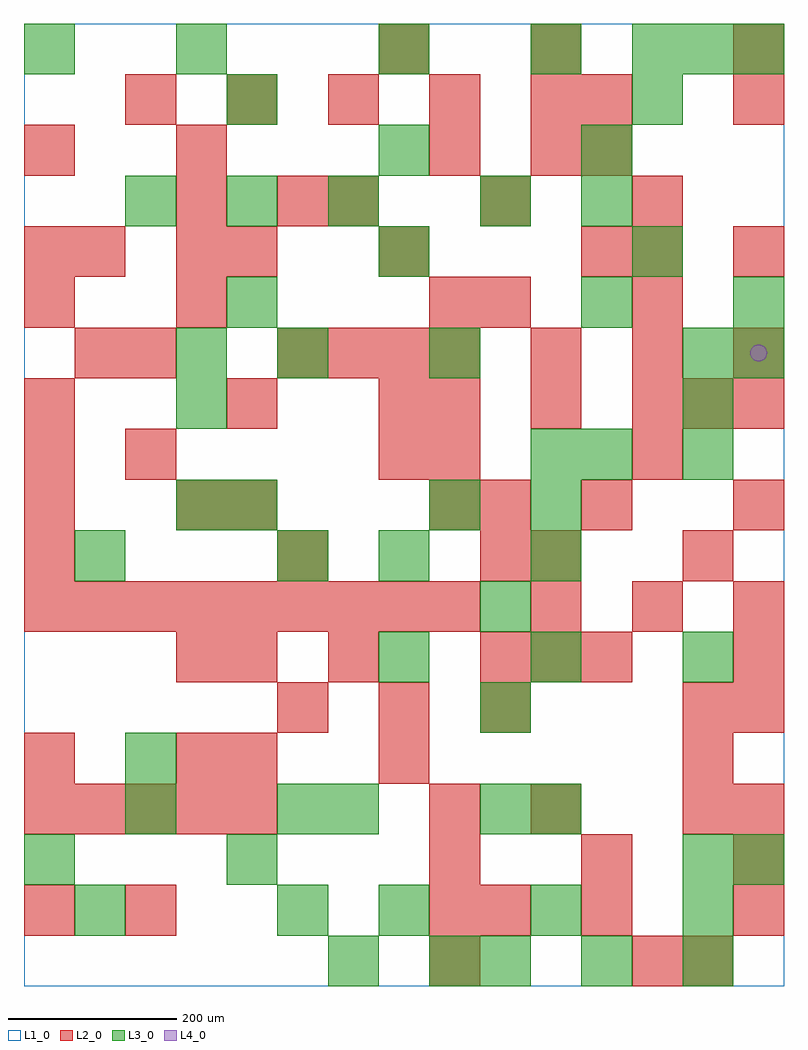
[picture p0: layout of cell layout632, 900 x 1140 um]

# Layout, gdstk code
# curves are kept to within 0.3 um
import gdstk
lib = gdstk.Library(unit=1e-6, precision=1e-09)
def R(c, l, rs):  # rectangles x0, y0, x1, y1
    for r in rs: c.add(gdstk.rectangle(r[:2], r[2:], *l))
def A(c, l, x, y, w, h, nx, ny, dx, dy):  # array of equal rectangles
    R(c, l, [(x+i*dx, y+j*dy, x+i*dx+w, y+j*dy+h) for i in range(nx) for j in range(ny)])
def P(c, l, *ps):  # polygons
    for p in ps: c.add(gdstk.Polygon(p, *l))
L1_0 = (1, 0)
L2_0 = (2, 0)
L3_0 = (3, 0)
L4_0 = (4, 0)

layout632 = lib.new_cell('layout632')
R(layout632, L1_0, [(0,0,900,1140)])
A(layout632, L2_0, 840, 60, 60, 60, 1, 3, 0, 120)
A(layout632, L2_0, 480, 120, 60, 60, 3, 1, 180, 0)
A(layout632, L2_0, 0, 180, 60, 60, 5, 1, 60, 0)
A(layout632, L2_0, 780, 180, 60, 60, 1, 3, 0, 60)
A(layout632, L2_0, 300, 300, 60, 60, 3, 1, 120, 0)
A(layout632, L2_0, 540, 360, 60, 60, 3, 1, 60, 0)
A(layout632, L2_0, 0, 420, 60, 60, 9, 1, 60, 0)
A(layout632, L2_0, 600, 420, 60, 60, 3, 2, 120, 300)
A(layout632, L2_0, 0, 480, 60, 60, 1, 4, 0, 60)
A(layout632, L2_0, 480, 600, 60, 60, 1, 3, 0, 180)
A(layout632, L2_0, 480, 660, 60, 60, 3, 1, 120, 0)
A(layout632, L2_0, 840, 660, 60, 60, 1, 3, 0, 180)
A(layout632, L2_0, 300, 720, 60, 60, 4, 1, 60, 0)
A(layout632, L2_0, 180, 780, 60, 60, 1, 4, 0, 60)
A(layout632, L2_0, 360, 900, 60, 60, 3, 1, 180, 0)
A(layout632, L2_0, 120, 1020, 60, 60, 5, 1, 120, 0)
R(layout632, L2_0, [(480,0,540,60), (720,0,780,60), (780,0,840,60), (0,60,60,120), (120,60,180,120), (480,60,540,120), (540,60,600,120), (660,60,720,120), (480,180,540,240), (600,180,660,240), (0,240,60,300), (180,240,240,300), (240,240,300,300), (420,240,480,300), (180,360,240,420), (240,360,300,420), (360,360,420,420), (840,360,900,420), (300,480,360,540), (540,480,600,540), (600,480,660,540), (780,480,840,540), (180,540,240,600), (240,540,300,600), (480,540,540,600), (540,540,600,600), (660,540,720,600), (840,540,900,600), (120,600,180,660), (420,600,480,660), (720,600,780,660), (240,660,300,720), (420,660,480,720), (780,660,840,720), (60,720,120,780), (120,720,180,780), (0,780,60,840), (540,780,600,840), (720,780,780,840), (0,840,60,900), (60,840,120,900), (240,840,300,900), (420,840,480,900), (660,840,720,900), (720,840,780,900), (300,900,360,960), (0,960,60,1020), (600,960,660,1020), (660,960,720,1020), (660,1020,720,1080), (420,1080,480,1140), (600,1080,660,1140), (840,1080,900,1140)])
A(layout632, L3_0, 540, 0, 60, 60, 3, 1, 120, 0)
A(layout632, L3_0, 420, 60, 60, 60, 3, 2, 180, 300)
A(layout632, L3_0, 540, 180, 60, 60, 1, 3, 0, 120)
A(layout632, L3_0, 600, 480, 60, 60, 1, 3, 0, 60)
A(layout632, L3_0, 240, 540, 60, 60, 1, 3, 0, 240)
A(layout632, L3_0, 780, 600, 60, 60, 1, 3, 0, 60)
A(layout632, L3_0, 420, 840, 60, 60, 1, 3, 0, 120)
A(layout632, L3_0, 120, 900, 60, 60, 3, 1, 120, 0)
A(layout632, L3_0, 720, 1080, 60, 60, 3, 1, 60, 0)
R(layout632, L3_0, [(360,0,420,60), (480,0,540,60), (60,60,120,120), (300,60,360,120), (0,120,60,180), (240,120,300,180), (780,120,840,180), (840,120,900,180), (120,180,180,240), (300,180,360,240), (360,180,420,240), (600,180,660,240), (120,240,180,300), (60,480,120,540), (300,480,360,540), (420,480,480,540), (180,540,240,600), (480,540,540,600), (660,600,720,660), (180,660,240,720), (180,720,240,780), (300,720,360,780), (480,720,540,780), (840,720,900,780), (660,780,720,840), (840,780,900,840), (720,840,780,900), (540,900,600,960), (660,900,720,960), (660,960,720,1020), (720,1020,780,1080), (0,1080,60,1140), (180,1080,240,1140), (600,1080,660,1140)])
P(layout632, L4_0, [(880,750),(879.239,753.827),(877.071,757.071),(873.827,759.239),(870,760),(866.173,759.239),(862.929,757.071),(860.761,753.827),(860,750),(860.761,746.173),(862.929,742.929),(866.173,740.761),(870,740),(873.827,740.761),(877.071,742.929),(879.239,746.173)])

lib.write_gds('layout632.gds')
